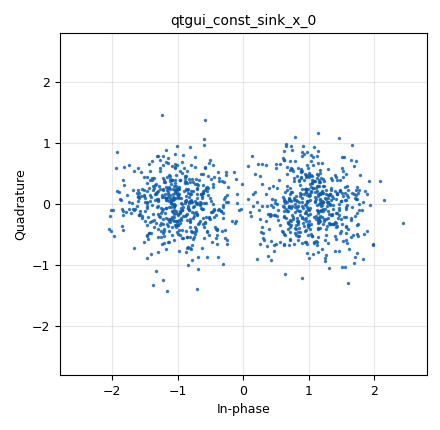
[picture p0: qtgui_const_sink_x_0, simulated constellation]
options:
  parameters:
    author: akansha
    generate_options: qt_gui
    generator_class_name: PythonQtGuiGenerator
    generator_module: gnuradio.grc.workflows.python_qt_gui
    id: BPSK_mod
    output_language: python
    title: Not titled yet
  states: {}

blocks:
- name: samp_rate
  id: variable
  parameters:
    value: '32000'
  states: {}
- name: analog_noise_source_x_0_0
  id: analog_noise_source_x
  parameters:
    amp: '0.6'
    noise_type: analog.GR_GAUSSIAN
    seed: '0'
    type: complex
  states: {}
- name: analog_random_source_x_0
  id: analog_random_source_x
  parameters:
    max: '1'
    min: '0'
    num_samps: '1000'
    repeat: 'True'
    type: int
  states: {}
- name: blocks_add_xx_0_0
  id: blocks_add_xx
  parameters:
    type: complex
  states: {}
- name: blocks_throttle2_0
  id: blocks_throttle2
  parameters:
    samples_per_second: samp_rate
    type: complex
  states: {}
- name: digital_chunks_to_symbols_xx_0
  id: digital_chunks_to_symbols_xx
  parameters:
    dimension: '2'
    in_type: int
    out_type: complex
    symbol_table: '[-1,1]'
  states: {}
- name: qtgui_const_sink_x_0
  id: qtgui_const_sink_x
  parameters:
    autoscale: 'True'
    size: '1024'
    type: complex
  states: {}

connections:
- [analog_noise_source_x_0_0, '0', blocks_add_xx_0_0, '1']
- [analog_random_source_x_0, '0', digital_chunks_to_symbols_xx_0, '0']
- [blocks_add_xx_0_0, '0', qtgui_const_sink_x_0, '0']
- [blocks_throttle2_0, '0', blocks_add_xx_0_0, '0']
- [digital_chunks_to_symbols_xx_0, '0', blocks_throttle2_0, '0']

metadata:
  file_format: 1
  grc_version: v3.11.0.0git-1083-ge2c22a2b
